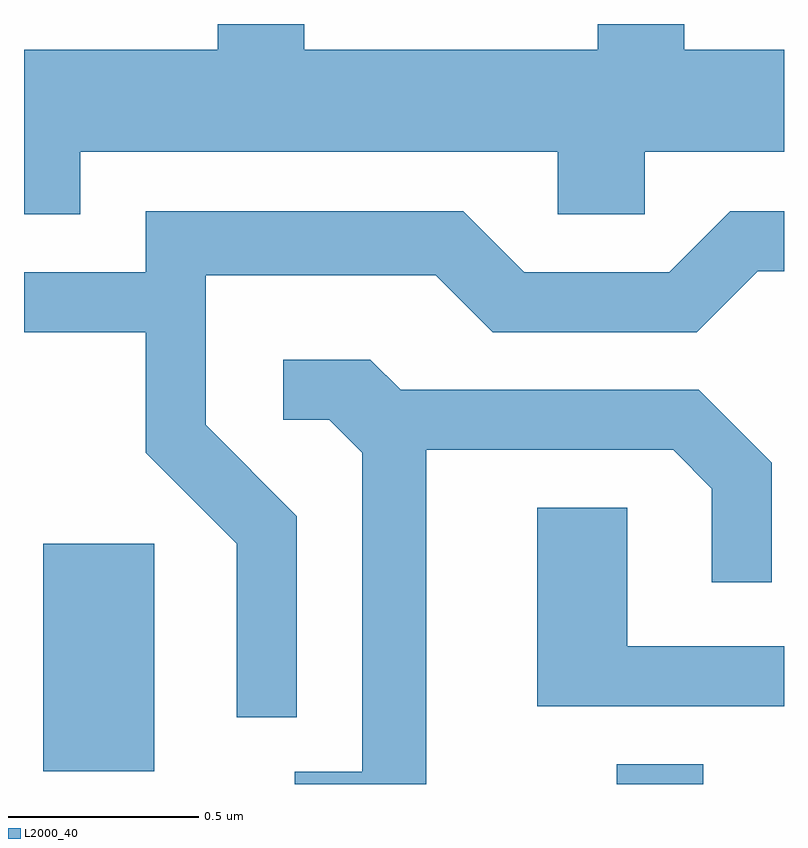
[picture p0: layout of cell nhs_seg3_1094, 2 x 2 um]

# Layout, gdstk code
import gdstk
lib = gdstk.Library(unit=1e-6, precision=1e-09)
def R(c, l, rs):  # rectangles x0, y0, x1, y1
    for r in rs: c.add(gdstk.rectangle(r[:2], r[2:], *l))
def P(c, l, *ps):  # polygons
    for p in ps: c.add(gdstk.Polygon(p, *l))
L2000_40 = (2000, 40)

nhs_seg3_1094 = lib.new_cell('nhs_seg3_1094')
R(nhs_seg3_1094, L2000_40, [(194.171,1250.892,194.399,1250.944), (192.661,1250.926,192.954,1251.524)])
P(nhs_seg3_1094, L2000_40, [(192.759,1252.556),(194.016,1252.556),(194.016,1252.391),(194.244,1252.391),(194.244,1252.556),(194.611,1252.556),(194.611,1252.824),(194.349,1252.824),(194.349,1252.892),(194.121,1252.892),(194.121,1252.824),(193.349,1252.824),(193.349,1252.892),(193.121,1252.892),(193.121,1252.824),(192.611,1252.824),(192.611,1252.391),(192.759,1252.391)],
  [(193.329,1251.597),(193.089,1251.837),(193.089,1252.231),(193.694,1252.231),(193.844,1252.081),(194.382,1252.081),(194.542,1252.241),(194.611,1252.241),(194.611,1252.399),(194.469,1252.399),(194.309,1252.239),(193.927,1252.239),(193.767,1252.399),(192.931,1252.399),(192.931,1252.239),(192.611,1252.239),(192.611,1252.081),(192.931,1252.081),(192.931,1251.764),(193.171,1251.524),(193.171,1251.068),(193.329,1251.068)],
  [(193.669,1251.771),(194.319,1251.771),(194.421,1251.669),(194.421,1251.423),(194.579,1251.423),(194.579,1251.737),(194.387,1251.929),(193.602,1251.929),(193.522,1252.009),(193.293,1252.009),(193.293,1251.851),(193.414,1251.851),(193.501,1251.764),(193.501,1250.924),(193.323,1250.924),(193.323,1250.892),(193.669,1250.892)],
  [(194.611,1251.254),(194.199,1251.254),(194.199,1251.619),(193.961,1251.619),(193.961,1251.096),(194.611,1251.096)])

lib.write_gds('nhs_seg3_1094.gds')
